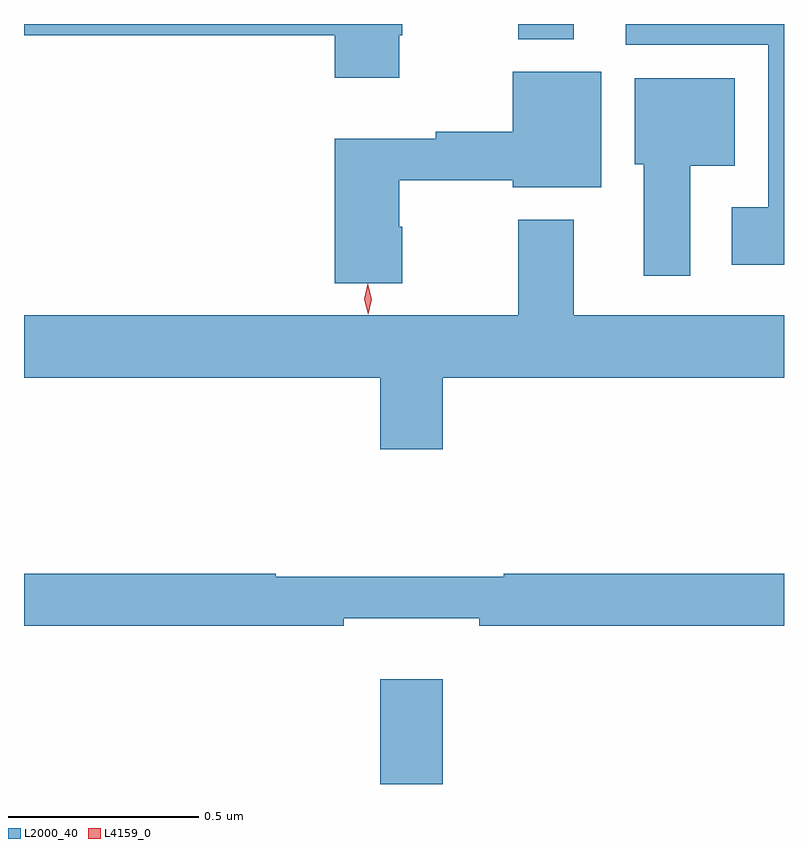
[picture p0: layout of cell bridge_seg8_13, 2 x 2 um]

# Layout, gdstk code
import gdstk
lib = gdstk.Library(unit=1e-6, precision=1e-09)
def R(c, l, rs):  # rectangles x0, y0, x1, y1
    for r in rs: c.add(gdstk.rectangle(r[:2], r[2:], *l))
def P(c, l, *ps):  # polygons
    for p in ps: c.add(gdstk.Polygon(p, *l))
L2000_40 = (2000, 40)
L4159_0 = (4159, 0)

bridge_seg8_13 = lib.new_cell('bridge_seg8_13')
R(bridge_seg8_13, L2000_40, [(980.192,1159.387,980.356,1159.663), (980.554,1161.347,980.701,1161.387)])
P(bridge_seg8_13, L2000_40, [(981.254,1161.387),(980.837,1161.387),(980.837,1161.332),(981.212,1161.332),(981.212,1160.905),(981.117,1160.905),(981.117,1160.753),(981.254,1160.753)],
  [(980.242,1161.358),(980.25,1161.358),(980.25,1161.387),(979.254,1161.387),(979.254,1161.358),(980.072,1161.358),(980.072,1161.246),(980.242,1161.246)],
  [(980.25,1160.853),(980.242,1160.853),(980.242,1160.976),(980.54,1160.976),(980.54,1160.957),(980.773,1160.957),(980.773,1161.262),(980.54,1161.262),(980.54,1161.104),(980.338,1161.104),(980.338,1161.085),(980.072,1161.085),(980.072,1160.705),(980.25,1160.705)],
  [(981.007,1161.014),(981.124,1161.014),(981.124,1161.244),(980.861,1161.244),(980.861,1161.018),(980.885,1161.018),(980.885,1160.724),(981.007,1160.724)],
  [(980.356,1160.456),(981.254,1160.456),(981.254,1160.62),(980.701,1160.62),(980.701,1160.872),(980.554,1160.872),(980.554,1160.62),(979.254,1160.62),(979.254,1160.456),(980.192,1160.456),(980.192,1160.268),(980.356,1160.268)],
  [(980.096,1159.823),(980.452,1159.823),(980.452,1159.804),(981.254,1159.804),(981.254,1159.94),(980.516,1159.94),(980.516,1159.933),(979.916,1159.933),(979.916,1159.94),(979.254,1159.94),(979.254,1159.804),(980.096,1159.804)])
P(bridge_seg8_13, L4159_0, [(980.16,1160.623),(980.16,1160.623),(980.149,1160.663),(980.159,1160.703),(980.159,1160.703),(980.159,1160.703),(980.169,1160.663),(980.16,1160.623)])

lib.write_gds('bridge_seg8_13.gds')
